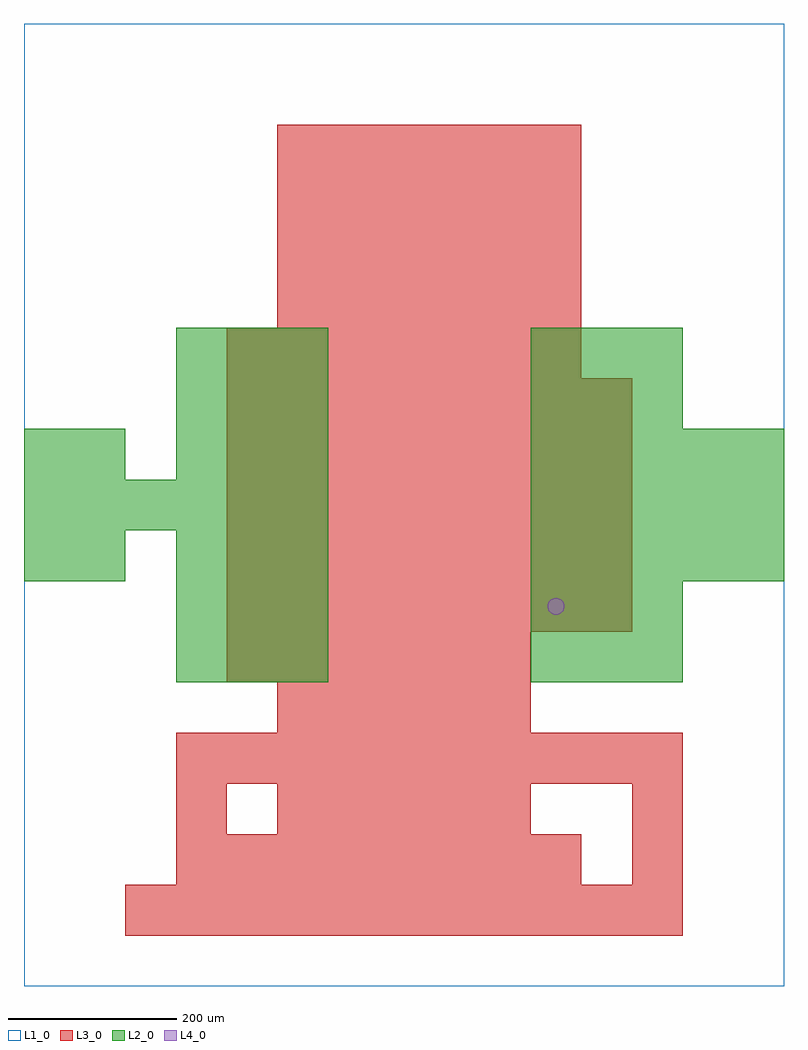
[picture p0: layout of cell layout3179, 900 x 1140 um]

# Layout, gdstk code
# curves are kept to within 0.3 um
import gdstk
lib = gdstk.Library(unit=1e-6, precision=1e-09)
def R(c, l, rs):  # rectangles x0, y0, x1, y1
    for r in rs: c.add(gdstk.rectangle(r[:2], r[2:], *l))
def A(c, l, x, y, w, h, nx, ny, dx, dy):  # array of equal rectangles
    R(c, l, [(x+i*dx, y+j*dy, x+i*dx+w, y+j*dy+h) for i in range(nx) for j in range(ny)])
def P(c, l, *ps):  # polygons
    for p in ps: c.add(gdstk.Polygon(p, *l))
L1_0 = (1, 0)
L2_0 = (2, 0)
L3_0 = (3, 0)
L4_0 = (4, 0)

layout3179 = lib.new_cell('layout3179')
R(layout3179, L1_0, [(0,0,900,1140)])
A(layout3179, L2_0, 180, 360, 60, 60, 3, 3, 60, 60)
A(layout3179, L2_0, 600, 360, 60, 60, 3, 2, 60, 60)
A(layout3179, L2_0, 600, 480, 60, 60, 5, 3, 60, 60)
A(layout3179, L2_0, 0, 540, 60, 60, 6, 1, 60, 0)
A(layout3179, L2_0, 180, 600, 60, 60, 3, 3, 60, 60)
A(layout3179, L2_0, 600, 660, 60, 60, 3, 2, 60, 60)
R(layout3179, L2_0, [(0,480,60,540), (60,480,120,540), (0,600,60,660), (60,600,120,660)])
A(layout3179, L3_0, 120, 60, 60, 60, 11, 1, 60, 0)
A(layout3179, L3_0, 180, 120, 60, 60, 8, 1, 60, 0)
A(layout3179, L3_0, 300, 180, 60, 60, 5, 2, 60, 120)
A(layout3179, L3_0, 180, 240, 60, 60, 10, 1, 60, 0)
A(layout3179, L3_0, 240, 360, 60, 60, 6, 1, 60, 0)
A(layout3179, L3_0, 240, 420, 60, 60, 8, 5, 60, 60)
A(layout3179, L3_0, 240, 720, 60, 60, 7, 1, 60, 0)
A(layout3179, L3_0, 300, 780, 60, 60, 6, 4, 60, 60)
R(layout3179, L3_0, [(720,120,780,180), (180,180,240,240), (720,180,780,240)])
P(layout3179, L4_0, [(640,450),(639.239,453.827),(637.071,457.071),(633.827,459.239),(630,460),(626.173,459.239),(622.929,457.071),(620.761,453.827),(620,450),(620.761,446.173),(622.929,442.929),(626.173,440.761),(630,440),(633.827,440.761),(637.071,442.929),(639.239,446.173)])

lib.write_gds('layout3179.gds')
